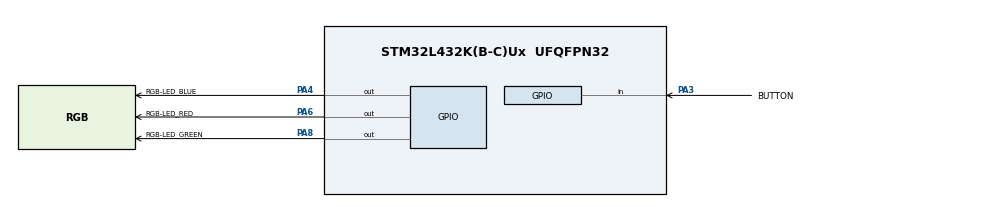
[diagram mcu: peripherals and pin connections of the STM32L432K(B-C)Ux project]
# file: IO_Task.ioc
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Mcu.Family=STM32L4
Mcu.Name=STM32L432K(B-C)Ux
Mcu.Package=UFQFPN32
NVIC.PriorityGroup=NVIC_PRIORITYGROUP_4
PA3.GPIO_Label=BUTTON
PA3.Signal=GPIO_Input
PA4.GPIO_Label=RGB-LED_BLUE
PA4.Signal=GPIO_Output
PA6.GPIO_Label=RGB-LED_RED
PA6.Signal=GPIO_Output
PA8.GPIO_Label=RGB-LED_GREEN
PA8.Signal=GPIO_Output
ProjectManager.HeapSize=0x200
ProjectManager.StackSize=0x400
ProjectManager.TargetToolchain=STM32CubeIDE
RCC.HSE_VALUE=8000000
RCC.HSI48_VALUE=48000000
RCC.HSI_VALUE=16000000
RCC.LSE_VALUE=32768
RCC.MSI_VALUE=4000000
RCC.VCOOutputFreq_Value=32000000
board=custom

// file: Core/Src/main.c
/* USER CODE BEGIN Header */
/**
  ******************************************************************************
  * @file           : main.c
  * @brief          : Main program body
  ******************************************************************************
  * @attention
  *
  * <h2><center>&copy; Copyright (c) 2021 STMicroelectronics.
  * All rights reserved.</center></h2>
  *
  * This software component is licensed by ST under BSD 3-Clause license,
  * the "License"; You may not use this file except in compliance with the
  * License. You may obtain a copy of the License at:
  *                        opensource.org/licenses/BSD-3-Clause
  *
  ******************************************************************************
  */
/* USER CODE END Header */
#include "main.h"

/* USER CODE BEGIN PV */
int leds_on = 1; // Global state if the LED are switched on or off
/* USER CODE END PV */

void SystemClock_Config(void);
static void MX_GPIO_Init(void);
/* USER CODE BEGIN PFP */
void blinky(int, int);
int buttoncheck(int, int);
/* USER CODE END PFP */

int main(void)
{

  /* MCU Configuration--------------------------------------------------------*/

  /* Reset of all peripherals, Initializes the Flash interface and the Systick. */
  HAL_Init();

  /* Configure the system clock */
  SystemClock_Config();

  /* Initialize all configured peripherals */
  MX_GPIO_Init();
  /* USER CODE BEGIN 2 */

  // First, let's turn off all 3 RGB LEDs
  HAL_GPIO_WritePin(GPIOA, RGB_LED_BLUE_Pin|RGB_LED_RED_Pin|RGB_LED_GREEN_Pin, GPIO_PIN_SET);

  enum LED {
    RED,
    GREEN,
    BLUE
  };

  // Start values
  int current_color = RED;
  int brightness_level = 0; // Three brightness levels can be used: 0 (lowest), 1 (middle), 2 (highest)

  /* USER CODE END 2 */

  /* Infinite loop */
  /* USER CODE BEGIN WHILE */
  while (1)
  {
    blinky(current_color, brightness_level); // Let the current LED shine in the current brightness

    if(buttoncheck(current_color, brightness_level)) { // Was button pressed?
      if(brightness_level == 2) { // Did we reach the "last" brightness?
        brightness_level = 0; // If yes, let's start with the first brightness again
        // Also switch to next color
        if(current_color == BLUE) { // Did we reach the last color?
          current_color = RED; // Let's start with red again
        } else {
          current_color++;
        }
      } else {
        brightness_level++;
      }
    }
    /* USER CODE END WHILE */

  }
}

void SystemClock_Config(void)
{
  RCC_OscInitTypeDef RCC_OscInitStruct = {0};
  RCC_ClkInitTypeDef RCC_ClkInitStruct = {0};

  /** Configure the main internal regulator output voltage
  */
  if (HAL_PWREx_ControlVoltageScaling(PWR_REGULATOR_VOLTAGE_SCALE1) != HAL_OK)
  {
    Error_Handler();
  }
  /** Initializes the RCC Oscillators according to the specified parameters
  * in the RCC_OscInitTypeDef structure.
  */
  RCC_OscInitStruct.OscillatorType = RCC_OSCILLATORTYPE_MSI;
  RCC_OscInitStruct.MSIState = RCC_MSI_ON;
  RCC_OscInitStruct.MSICalibrationValue = 0;
  RCC_OscInitStruct.MSIClockRange = RCC_MSIRANGE_6;
  RCC_OscInitStruct.PLL.PLLState = RCC_PLL_NONE;
  if (HAL_RCC_OscConfig(&RCC_OscInitStruct) != HAL_OK)
  {
    Error_Handler();
  }
  /** Initializes the CPU, AHB and APB buses clocks
  */
  RCC_ClkInitStruct.ClockType = RCC_CLOCKTYPE_HCLK|RCC_CLOCKTYPE_SYSCLK
                              |RCC_CLOCKTYPE_PCLK1|RCC_CLOCKTYPE_PCLK2;
  RCC_ClkInitStruct.SYSCLKSource = RCC_SYSCLKSOURCE_MSI;
  RCC_ClkInitStruct.AHBCLKDivider = RCC_SYSCLK_DIV1;
  RCC_ClkInitStruct.APB1CLKDivider = RCC_HCLK_DIV1;
  RCC_ClkInitStruct.APB2CLKDivider = RCC_HCLK_DIV1;

  if (HAL_RCC_ClockConfig(&RCC_ClkInitStruct, FLASH_LATENCY_0) != HAL_OK)
  {
    Error_Handler();
  }
}

static void MX_GPIO_Init(void)
{
  GPIO_InitTypeDef GPIO_InitStruct = {0};

  /* GPIO Ports Clock Enable */
  __HAL_RCC_GPIOA_CLK_ENABLE();

  /*Configure GPIO pin Output Level */
  HAL_GPIO_WritePin(GPIOA, RGB_LED_BLUE_Pin|RGB_LED_RED_Pin|RGB_LED_GREEN_Pin, GPIO_PIN_RESET);

  /*Configure GPIO pin : BUTTON_Pin */
  GPIO_InitStruct.Pin = BUTTON_Pin;
  GPIO_InitStruct.Mode = GPIO_MODE_INPUT;
  GPIO_InitStruct.Pull = GPIO_NOPULL;
  HAL_GPIO_Init(BUTTON_GPIO_Port, &GPIO_InitStruct);

  /*Configure GPIO pins : RGB_LED_BLUE_Pin RGB_LED_RED_Pin RGB_LED_GREEN_Pin */
  GPIO_InitStruct.Pin = RGB_LED_BLUE_Pin|RGB_LED_RED_Pin|RGB_LED_GREEN_Pin;
  GPIO_InitStruct.Mode = GPIO_MODE_OUTPUT_PP;
  GPIO_InitStruct.Pull = GPIO_NOPULL;
  GPIO_InitStruct.Speed = GPIO_SPEED_FREQ_LOW;
  HAL_GPIO_Init(GPIOA, &GPIO_InitStruct);

}

/* USER CODE BEGIN 4 */

/**
  * @brief  Makes the given LED shine with the given brightness level (0, 1 or 2), implemented via software Pulse Width Modulation (PWM).
  *         This method takes (technically: at least) 22 ms to run.
  * @param  color: The color of the RGB LED to use (0=red, 1=green, 2=blue)
  * @param  brightness_level: Possible values: 0, 1, 2
  * @retval None
  */
void blinky(int color, int brightness_level) {
  if(!leds_on) {
    return; // If LEDs were turned off globally, this method does not need to run.
  }

  // Correct (possible) wrong parameters
  if(color < 0) {
    color = 0;
  } else if(color > 2) {
    color = 2;
  }
  if(brightness_level < 0) {
    brightness_level = 0;
  } else if(brightness_level > 2) {
    brightness_level = 2;
  }

  int led[3]      = {RGB_LED_RED_Pin, RGB_LED_GREEN_Pin, RGB_LED_BLUE_Pin};
  int on_time[3]  = {2 , 12, 20 };
  int off_time[3] = {20, 10, 2 };

  HAL_GPIO_TogglePin(GPIOA, led[color]); // Turn desired LED on
  HAL_Delay(on_time[brightness_level]);  // Keep on for x milliseconds
  HAL_GPIO_TogglePin(GPIOA, led[color]); // Turn LED off
  HAL_Delay(off_time[brightness_level]); // Keep off for x milliseconds
  // In the end delays were 22 ms in total
}

/**
  * @brief  Checks and returns if the button was pressed or, when button was pressed for one second, turns off the LEDs. Also handles debouncing.
  * @param  color: The color of the RGB LED to use (0=red, 1=green, 2=blue)
  * @param  brightness_level: Possible values: 0, 1, 2
  * @retval status:  - 0  button was not pressed.
  *                  - 1  button was pressed.
  */
int buttoncheck(int color, int brightness_level) {
  int leds_on_before_button_press = leds_on; // Were the LEDs on before the button was pressed?
  int button_pressed = 0; // The return value: If the button was "pressed". However, for us, the button was not "pressed" when held longer than 1 second.
  int while_logic_done = 0;

  int counter = 0;
  while(!HAL_GPIO_ReadPin(BUTTON_GPIO_Port, BUTTON_Pin)) { // While the button is pressed
    if(!while_logic_done) {
      if(counter > 45) { // Button was pressed and held for ~1 second (see calculation in comment, when calling blinky, below)
        if (leds_on_before_button_press) { // Were LEDs on before even touching the button?
          leds_on = 0; // Turn LEDs off (globally)
          button_pressed = 0; // Do not change brightness anymore (with this line the main method will later not handle this button press)
        }
        while_logic_done = 1; // Nothing to do in this while anymore, let's safe CPU cycles, just keep blinking as long as the button is pressed ;)
      } else if(counter > 3 && !button_pressed) { // Debouncing: blinky was called 3 times (22 ms x 3) so after that delay we are sure the Button was pressed
        if(leds_on_before_button_press) {
          button_pressed = 1;
          // Here, the while logic is not done here yet, because user could keep pressing the button
        } else {
          leds_on = 1; // In case the LEDs were off, we switch them on again
          while_logic_done = 1; // Again, nothing to do in this while anymore, just keep blinking as long as the button is still pressed
        }
      }
      counter++;
    }
    // blinky needs 22 milliseconds to finish one run -> calling blinky 46 times x 22 ms each = at least 1012 ms (~1 second) have passed
    blinky(color, brightness_level); // While pressing the button, we keep the LEDs on
  }
  return button_pressed;
}

/* USER CODE END 4 */

void Error_Handler(void)
{
  __disable_irq();
  while (1)
  {
  }
}

/************************ (C) COPYRIGHT STMicroelectronics *****END OF FILE****/
